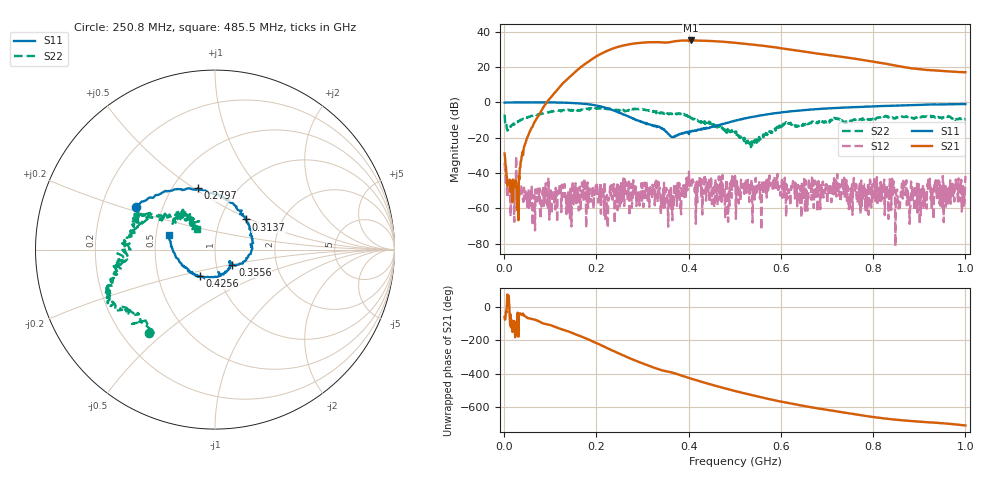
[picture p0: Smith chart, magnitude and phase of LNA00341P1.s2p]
! Created with skrf 1.9.0 (http://scikit-rf.org).
# Hz S RI R 50.0
!freq ReS11 ImS11 ReS21 ImS21 ReS12 ImS12 ReS22 ImS22
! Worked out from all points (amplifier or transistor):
!   1001 points, 1 MHz to 1 GHz, reference 50 ohm
!   highest |S21| = 35.1 dB at 404.6 MHz (marker M1)
!   |S21| within 3 dB of that: 256.3 MHz to 560.6 MHz (304.3 MHz wide, 74.5 % of centre)
!   unconditionally stable (mu >= 1): start of sweep to 57.53 MHz; 259 MHz to 400.5 MHz; 400.7 MHz to end of sweep (the widest 3 of 29)
!   at 166.8 MHz: K = 2.46, MAG = 29.9 dB, |S12| = -53.2 dB
!   at 500.5 MHz: K = 1.33, MAG = 34.3 dB, |S12| = -41.6 dB
!   at 1 GHz: K = 1.72, MAG = 24.4 dB, |S12| = -41.7 dB
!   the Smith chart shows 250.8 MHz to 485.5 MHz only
!   S11 on the Smith chart (normalised r, x): 250.8 MHz: 0.35, +0.22; 279.7 MHz: 0.66, +0.52; 313.7 MHz: 1.32, +0.47; 355.6 MHz: 1.20, -0.20; 425.6 MHz: 0.81, -0.25; 485.5 MHz: 0.59, +0.10
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1000000  0.9854 0.0137  0.0178 -0.031  -0.0194 0.00141  0.3376 0.304
1.08892e8  0.5073 -0.8562  -0.8562 -1.605  0.00134 -0.000554  0.4226 -0.3747
1.67833e8  -0.2572 -0.8909  -10.4 -0.3806  -0.00202 0.000723  0.0327 -0.6261
2.11789e8  -0.6813 -0.3168  -15.13 19.28  0.00206 -0.000544  -0.2107 -0.6486
2.29771e8  -0.6355 -0.0231  -7.979 30.1  0.00212 -0.00361  -0.274 -0.613
2.5075e8  -0.4413 0.239  7.853 37.67  -0.000963 -0.000584  -0.3652 -0.4666
2.79721e8  -0.0973 0.3413  33.33 31.82  -0.00218 0.00587  -0.5815 -0.3147
3.13687e8  0.1714 0.1683  50.22 5.793  -0.00187 0.000822  -0.576 -0.1759
3.34666e8  0.2077 0.00495  49.45 -12  -0.00545 0.00124  -0.5173 -0.0335
3.55645e8  0.0973 -0.0831  44.13 -23.86  -0.000292 7.66e-05  -0.4746 0.0775
3.75625e8  0.0875 -0.0781  39.84 -37.94  -0.000962 0.00418  -0.4477 0.173
4.04596e8  0.0128 -0.151  19.69 -53.3  0.00159 0.00445  -0.3133 0.183
4.25575e8  -0.0855 -0.1472  2.76 -55.97  0.00345 0.00193  -0.2339 0.1656
4.53547e8  -0.1959 -0.0717  -17.97 -51.15  0.0013 0.00331  -0.1623 0.1645
4.85515e8  -0.2541 0.0796  -34.7 -37.14  0.000269 -0.000314  -0.1021 0.116
5.005e8  -0.2517 0.1638  -39.88 -28.71  0.00467 -0.00686  -0.1199 0.0659
5.36464e8  -0.1771 0.3422  -42.79 -8.38  0.00646 0.00148  -0.0776 0.0086
5.83417e8  0.0237 0.4848  -34.81 11.61  0.0053 -0.00318  -0.1403 -0.0872
6.67333e8  0.4143 0.477  -11.65 22.45  -0.00226 -0.00705  -0.2857 -0.0199
7.55245e8  0.6821 0.2635  3.399 17.3  -0.000645 9.91e-05  -0.3001 0.0918
8.34166e8  0.7992 0.00916  7.991 8.948  0.00114 -0.00343  -0.3547 0.1399
1e9  0.7213 -0.5348  7.065 1.157  -0.00789 -0.00249  -0.0647 0.3223
